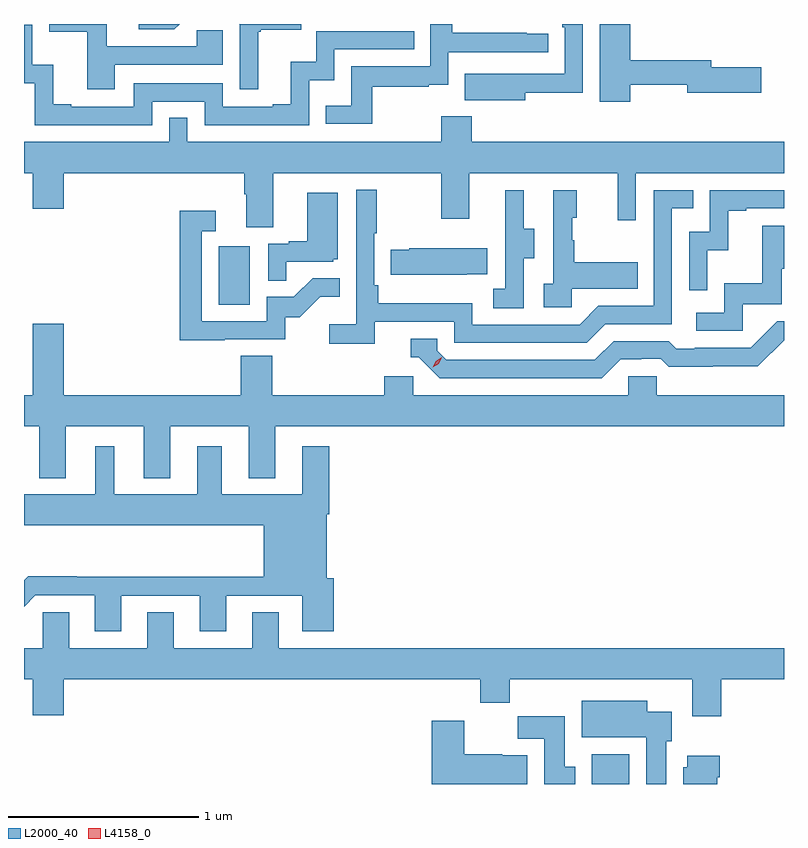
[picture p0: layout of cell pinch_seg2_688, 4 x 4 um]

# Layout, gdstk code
import gdstk
lib = gdstk.Library(unit=1e-6, precision=1e-09)
def R(c, l, rs):  # rectangles x0, y0, x1, y1
    for r in rs: c.add(gdstk.rectangle(r[:2], r[2:], *l))
def P(c, l, *ps):  # polygons
    for p in ps: c.add(gdstk.Polygon(p, *l))
L2000_40 = (2000, 40)
L4158_0 = (4158, 0)

pinch_seg2_688 = lib.new_cell('pinch_seg2_688')
R(pinch_seg2_688, L2000_40, [(1103.015,592.473,1103.212,592.63), (1101.05,594.996,1101.214,595.303)])
P(pinch_seg2_688, L2000_40, [(1101.859,596.142),(1102.157,596.142),(1102.157,596.153),(1102.26,596.153),(1102.26,596.325),(1102.786,596.325),(1102.786,596.421),(1102.673,596.421),(1102.673,596.426),(1102.28,596.426),(1102.28,596.473),(1102.164,596.473),(1102.164,596.25),(1101.748,596.25),(1101.748,596.044),(1101.613,596.044),(1101.613,595.947),(1101.859,595.947)],
  [(1101.259,596.433),(1101.271,596.433),(1101.271,596.444),(1101.484,596.444),(1101.484,596.473),(1101.158,596.473),(1101.162,596.469),(1101.162,596.13),(1101.259,596.13)],
  [(1100.846,596.473),(1100.631,596.473),(1100.631,596.445),(1100.818,596.445)],
  [(1103.218,596.154),(1103.516,596.154),(1103.516,596.111),(1103.905,596.111),(1103.905,596.246),(1103.644,596.246),(1103.644,596.282),(1103.218,596.282),(1103.218,596.473),(1103.057,596.473),(1103.057,596.064),(1103.218,596.064)],
  [(1100.503,596.259),(1101.072,596.259),(1101.072,596.439),(1100.935,596.439),(1100.935,596.355),(1100.461,596.355),(1100.461,596.473),(1100.16,596.473),(1100.16,596.433),(1100.359,596.433),(1100.359,596.13),(1100.503,596.13)],
  [(1102.663,596.11),(1102.968,596.11),(1102.968,596.473),(1102.859,596.473),(1102.859,596.456),(1102.872,596.456),(1102.872,596.211),(1102.559,596.211),(1102.559,596.212),(1102.345,596.212),(1102.345,596.072),(1102.663,596.072)],
  [(1100.7,596.064),(1100.976,596.064),(1100.976,595.941),(1101.528,595.941),(1101.528,596.177),(1101.66,596.177),(1101.66,596.34),(1102.079,596.34),(1102.079,596.436),(1101.564,596.436),(1101.564,596.275),(1101.431,596.275),(1101.431,596.05),(1101.335,596.05),(1101.335,596.037),(1101.072,596.037),(1101.072,596.16),(1100.604,596.16),(1100.604,596.037),(1100.275,596.037),(1100.275,596.05),(1100.18,596.05),(1100.18,596.258),(1100.07,596.258),(1100.07,596.47),(1100.026,596.47),(1100.026,596.16),(1100.082,596.16),(1100.082,595.941),(1100.7,595.941)],
  [(1100.026,595.688),(1100.072,595.688),(1100.072,595.5),(1100.236,595.5),(1100.236,595.688),(1101.185,595.688),(1101.185,595.576),(1101.197,595.576),(1101.197,595.402),(1101.337,595.402),(1101.337,595.688),(1102.222,595.688),(1102.222,595.449),(1102.369,595.449),(1102.369,595.688),(1103.15,595.688),(1103.15,595.44),(1103.247,595.44),(1103.247,595.688),(1104.026,595.688),(1104.026,595.852),(1102.382,595.852),(1102.382,595.987),(1102.222,595.987),(1102.222,595.852),(1100.886,595.852),(1100.886,595.979),(1100.79,595.979),(1100.79,595.852),(1100.026,595.852)],
  [(1101.872,594.906),(1102.29,594.906),(1102.29,594.795),(1102.987,594.795),(1103.086,594.894),(1103.436,594.894),(1103.436,595.503),(1103.549,595.503),(1103.549,595.599),(1103.34,595.599),(1103.34,594.99),(1103.049,594.99),(1102.95,594.891),(1102.386,594.891),(1102.386,595.003),(1101.89,595.003),(1101.89,595.099),(1101.87,595.099),(1101.87,595.372),(1101.883,595.372),(1101.883,595.6),(1101.774,595.6),(1101.774,594.892),(1101.633,594.892),(1101.633,594.79),(1101.872,594.79)],
  [(1103.622,595.283),(1103.732,595.283),(1103.732,595.491),(1103.827,595.491),(1103.827,595.503),(1104.026,595.503),(1104.026,595.599),(1103.634,595.599),(1103.634,595.38),(1103.526,595.38),(1103.526,595.071),(1103.622,595.071)],
  [(1102.656,595.24),(1102.711,595.24),(1102.711,595.395),(1102.657,595.395),(1102.657,595.597),(1102.559,595.597),(1102.559,595.383),(1102.56,595.383),(1102.56,595.079),(1102.497,595.079),(1102.497,594.976),(1102.656,594.976)],
  [(1102.908,595.079),(1103.255,595.079),(1103.255,595.219),(1102.921,595.219),(1102.921,595.334),(1102.911,595.334),(1102.911,595.452),(1102.936,595.452),(1102.936,595.597),(1102.812,595.597),(1102.812,595.106),(1102.761,595.106),(1102.761,594.981),(1102.908,594.981)],
  [(1101.407,595.221),(1101.654,595.221),(1101.654,595.236),(1101.676,595.236),(1101.676,595.585),(1101.518,595.585),(1101.518,595.33),(1101.419,595.33),(1101.419,595.317),(1101.312,595.317),(1101.312,595.123),(1101.407,595.123)],
  [(1101.083,594.813),(1101.402,594.813),(1101.402,594.93),(1101.478,594.93),(1101.585,595.037),(1101.689,595.037),(1101.689,595.136),(1101.545,595.136),(1101.447,595.038),(1101.303,595.038),(1101.303,594.909),(1100.961,594.909),(1100.961,595.383),(1101.034,595.383),(1101.034,595.489),(1100.845,595.489),(1100.845,594.808),(1101.083,594.808)],
  [(1103.808,594.999),(1104.013,594.999),(1104.013,595.185),(1104.026,595.185),(1104.026,595.411),(1103.911,595.411),(1103.911,595.108),(1103.712,595.108),(1103.712,594.954),(1103.565,594.954),(1103.565,594.858),(1103.808,594.858)],
  [(1102.355,595.157),(1102.463,595.157),(1102.463,595.294),(1102.053,595.294),(1102.053,595.284),(1101.955,595.284),(1101.955,595.154),(1102.355,595.154)],
  [(1103.167,594.708),(1103.274,594.708),(1103.274,594.711),(1103.377,594.711),(1103.419,594.669),(1103.652,594.669),(1103.652,594.671),(1103.888,594.671),(1104.026,594.809),(1104.026,594.909),(1103.991,594.909),(1103.85,594.768),(1103.557,594.768),(1103.557,594.765),(1103.458,594.765),(1103.419,594.804),(1103.13,594.804),(1103.031,594.705),(1102.248,594.705),(1102.2,594.753),(1102.2,594.816),(1102.061,594.816),(1102.061,594.72),(1102.104,594.72),(1102.215,594.609),(1103.068,594.609)],
  [(1101.332,594.728),(1101.167,594.728),(1101.167,594.52),(1100.236,594.52),(1100.236,594.895),(1100.072,594.895),(1100.072,594.52),(1100.026,594.52),(1100.026,594.356),(1100.105,594.356),(1100.105,594.083),(1100.245,594.083),(1100.245,594.356),(1100.657,594.356),(1100.657,594.083),(1100.797,594.083),(1100.797,594.356),(1101.209,594.356),(1101.209,594.083),(1101.349,594.083),(1101.349,594.356),(1104.026,594.356),(1104.026,594.52),(1103.355,594.52),(1103.355,594.618),(1103.205,594.618),(1103.205,594.52),(1102.074,594.52),(1102.074,594.618),(1101.923,594.618),(1101.923,594.52),(1101.332,594.52)],
  [(1100.539,593.463),(1100.951,593.463),(1100.951,593.277),(1101.091,593.277),(1101.091,593.463),(1101.491,593.463),(1101.491,593.277),(1101.656,593.277),(1101.656,593.556),(1101.619,593.556),(1101.619,593.894),(1101.632,593.894),(1101.632,594.25),(1101.491,594.25),(1101.491,593.998),(1101.067,593.998),(1101.067,594.25),(1100.939,594.25),(1100.939,593.998),(1100.5,593.998),(1100.5,594.25),(1100.402,594.25),(1100.402,593.998),(1100.026,593.998),(1100.026,593.834),(1101.287,593.834),(1101.287,593.564),(1100.303,593.564),(1100.303,593.567),(1100.048,593.567),(1100.026,593.545),(1100.026,593.407),(1100.085,593.466),(1100.399,593.466),(1100.399,593.277),(1100.539,593.277)],
  [(1103.696,593.024),(1104.026,593.024),(1104.026,593.188),(1101.367,593.188),(1101.367,593.378),(1101.227,593.378),(1101.227,593.188),(1100.815,593.188),(1100.815,593.378),(1100.675,593.378),(1100.675,593.188),(1100.263,593.188),(1100.263,593.378),(1100.124,593.378),(1100.124,593.188),(1100.026,593.188),(1100.026,593.024),(1100.072,593.024),(1100.072,592.836),(1100.236,592.836),(1100.236,593.024),(1102.427,593.024),(1102.427,592.9),(1102.583,592.9),(1102.583,593.024),(1103.543,593.024),(1103.543,592.83),(1103.696,592.83)],
  [(1103.407,592.698),(1103.434,592.698),(1103.434,592.852),(1103.305,592.852),(1103.305,592.912),(1102.961,592.912),(1102.961,592.718),(1103.3,592.718),(1103.3,592.473),(1103.407,592.473)],
  [(1102.927,592.564),(1102.873,592.564),(1102.873,592.83),(1102.624,592.83),(1102.624,592.712),(1102.763,592.712),(1102.763,592.473),(1102.927,592.473)],
  [(1102.675,592.624),(1102.542,592.624),(1102.542,592.63),(1102.342,592.63),(1102.342,592.807),(1102.172,592.807),(1102.172,592.473),(1102.675,592.473)],
  [(1103.674,592.508),(1103.687,592.508),(1103.687,592.621),(1103.516,592.621),(1103.516,592.56),(1103.495,592.56),(1103.495,592.473),(1103.674,592.473)])
P(pinch_seg2_688, L4158_0, [(1102.178,594.666),(1102.178,594.667),(1102.194,594.699),(1102.225,594.718),(1102.225,594.718),(1102.225,594.718),(1102.209,594.685),(1102.178,594.666)])

lib.write_gds('pinch_seg2_688.gds')
